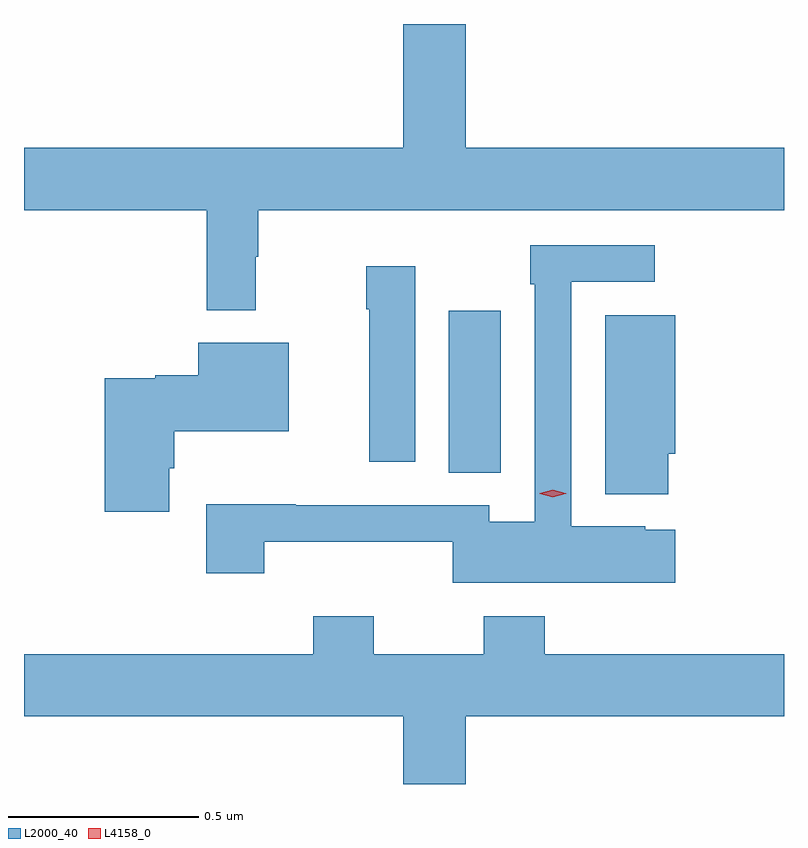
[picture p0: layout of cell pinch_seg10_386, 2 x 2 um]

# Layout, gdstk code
import gdstk
lib = gdstk.Library(unit=1e-6, precision=1e-09)
def R(c, l, rs):  # rectangles x0, y0, x1, y1
    for r in rs: c.add(gdstk.rectangle(r[:2], r[2:], *l))
def P(c, l, *ps):  # polygons
    for p in ps: c.add(gdstk.Polygon(p, *l))
L2000_40 = (2000, 40)
L4158_0 = (4158, 0)

pinch_seg10_386 = lib.new_cell('pinch_seg10_386')
R(pinch_seg10_386, L2000_40, [(476.816,1262.329,476.953,1262.755)])
P(pinch_seg10_386, L2000_40, [(476.308,1262.897),(476.315,1262.897),(476.315,1263.02),(477.698,1263.02),(477.698,1263.184),(476.86,1263.184),(476.86,1263.51),(476.696,1263.51),(476.696,1263.184),(475.698,1263.184),(475.698,1263.02),(476.179,1263.02),(476.179,1262.757),(476.308,1262.757)],
  [(477.412,1262.179),(477.333,1262.179),(477.333,1262.188),(477.138,1262.188),(477.138,1262.832),(477.358,1262.832),(477.358,1262.928),(477.03,1262.928),(477.03,1262.825),(477.042,1262.825),(477.042,1262.2),(476.922,1262.2),(476.922,1262.244),(476.413,1262.244),(476.413,1262.246),(476.177,1262.246),(476.177,1262.064),(476.33,1262.064),(476.33,1262.147),(476.826,1262.147),(476.826,1262.039),(477.412,1262.039)],
  [(476.728,1262.872),(476.599,1262.872),(476.599,1262.759),(476.606,1262.759),(476.606,1262.358),(476.728,1262.358)],
  [(477.394,1262.379),(477.412,1262.379),(477.412,1262.743),(477.227,1262.743),(477.227,1262.273),(477.394,1262.273)],
  [(476.08,1262.341),(476.093,1262.341),(476.093,1262.438),(476.395,1262.438),(476.395,1262.671),(476.156,1262.671),(476.156,1262.586),(476.043,1262.586),(476.043,1262.578),(475.91,1262.578),(475.91,1262.226),(476.08,1262.226)],
  [(476.86,1261.688),(477.698,1261.688),(477.698,1261.852),(477.068,1261.852),(477.068,1261.951),(476.908,1261.951),(476.908,1261.852),(476.619,1261.852),(476.619,1261.951),(476.459,1261.951),(476.459,1261.852),(475.698,1261.852),(475.698,1261.688),(476.696,1261.688),(476.696,1261.51),(476.86,1261.51)])
P(pinch_seg10_386, L4158_0, [(477.09,1262.264),(477.055,1262.274),(477.055,1262.274),(477.055,1262.275),(477.09,1262.284),(477.124,1262.275),(477.125,1262.274),(477.124,1262.274)])

lib.write_gds('pinch_seg10_386.gds')
